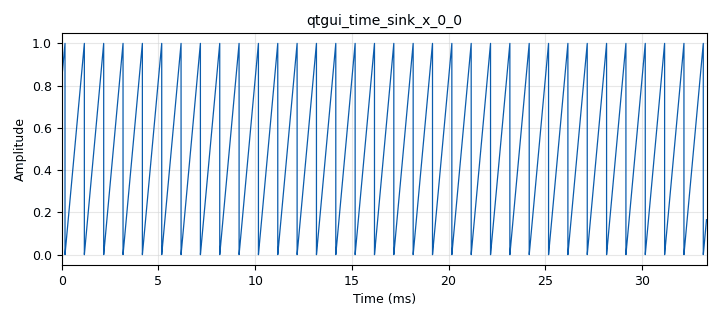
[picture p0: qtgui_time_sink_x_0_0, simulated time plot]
options:
  parameters:
    generate_options: qt_gui
    id: chirp_generator
    output_language: python
    title: Not titled yet
  states: {}

blocks:
- name: center_freq
  id: variable
  parameters:
    value: '1000000'
  states: {}
- name: samp_rate
  id: variable
  parameters:
    value: '3000000'
  states: {}
- name: analog_sig_source_x_0
  id: analog_sig_source_x
  parameters:
    amp: '1'
    freq: '1000'
    offset: '0'
    phase: '0'
    samp_rate: samp_rate
    type: float
    waveform: analog.GR_SAW_WAVE
  states: {}
- name: blocks_file_sink_0_0_0
  id: blocks_file_sink
  parameters:
    file: /home/mhetu/Desktop/gpr/gnu_log/out0_log
    type: complex
  states: {}
- name: blocks_file_sink_0_0_1
  id: blocks_file_sink
  parameters:
    file: /home/mhetu/Desktop/gpr/gnu_log/out1_log
    type: complex
  states: {}
- name: blocks_file_sink_0_0_2
  id: blocks_file_sink
  parameters:
    file: /home/mhetu/Desktop/gpr/gnu_log/chirp_log
    type: complex
  states: {}
- name: blocks_float_to_complex_0
  id: blocks_float_to_complex
  parameters: {}
  states: {}
- name: blocks_vco_f_0
  id: blocks_vco_f
  parameters:
    amplitude: '1'
    samp_rate: samp_rate
    sensitivity: '314'
  states: {}
- name: qtgui_time_sink_x_0_0
  id: qtgui_time_sink_x
  parameters:
    autoscale: 'True'
    size: '100000'
    srate: samp_rate
    tr_mode: qtgui.TRIG_MODE_AUTO
    type: float
  states: {}
- name: uhd_usrp_sink_0_0
  id: uhd_usrp_sink
  parameters:
    ant0: '"TX/RX"'
    ant1: '"TX/RX"'
    bw0: samp_rate/2
    bw1: samp_rate/2
    center_freq0: center_freq
    center_freq1: center_freq
    dev_addr: '"serial=326F639"'
    gain0: '0.5'
    gain1: '0'
    gain_type0: normalized
    gain_type1: normalized
    lo_export1: 'False'
    lo_source1: internal
    nchan: '2'
    samp_rate: samp_rate
    show_lo_controls: 'True'
    stream_args: num send f rames = 1024
    stream_chans: '[0,1]'
    sync: sync
    type: fc32
  states: {}
- name: uhd_usrp_source_0_0_0
  id: uhd_usrp_source
  parameters:
    ant0: '"RX2"'
    ant1: '"RX2"'
    bw0: samp_rate/2
    bw1: samp_rate/2
    center_freq0: center_freq
    center_freq1: center_freq
    dev_addr: '"serial=326F639"'
    gain0: '1'
    gain1: '1'
    gain_type0: normalized
    gain_type1: normalized
    lo_export1: 'False'
    lo_source1: internal
    nchan: '2'
    rx_agc0: Disabled
    rx_agc1: Disabled
    samp_rate: samp_rate
    show_lo_controls: 'True'
    stream_args: num send f rames = 1024
    stream_chans: '[0,1]'
    sync: none
    type: fc32
  states: {}

connections:
- [analog_sig_source_x_0, '0', blocks_vco_f_0, '0']
- [analog_sig_source_x_0, '0', qtgui_time_sink_x_0_0, '0']
- [blocks_float_to_complex_0, '0', blocks_file_sink_0_0_2, '0']
- [blocks_float_to_complex_0, '0', uhd_usrp_sink_0_0, '0']
- [blocks_float_to_complex_0, '0', uhd_usrp_sink_0_0, '1']
- [blocks_vco_f_0, '0', blocks_float_to_complex_0, '0']
- [blocks_vco_f_0, '0', blocks_float_to_complex_0, '1']
- [uhd_usrp_source_0_0_0, '0', blocks_file_sink_0_0_0, '0']
- [uhd_usrp_source_0_0_0, '1', blocks_file_sink_0_0_1, '0']

metadata:
  file_format: 1
  grc_version: 3.9.8.0-rc1
